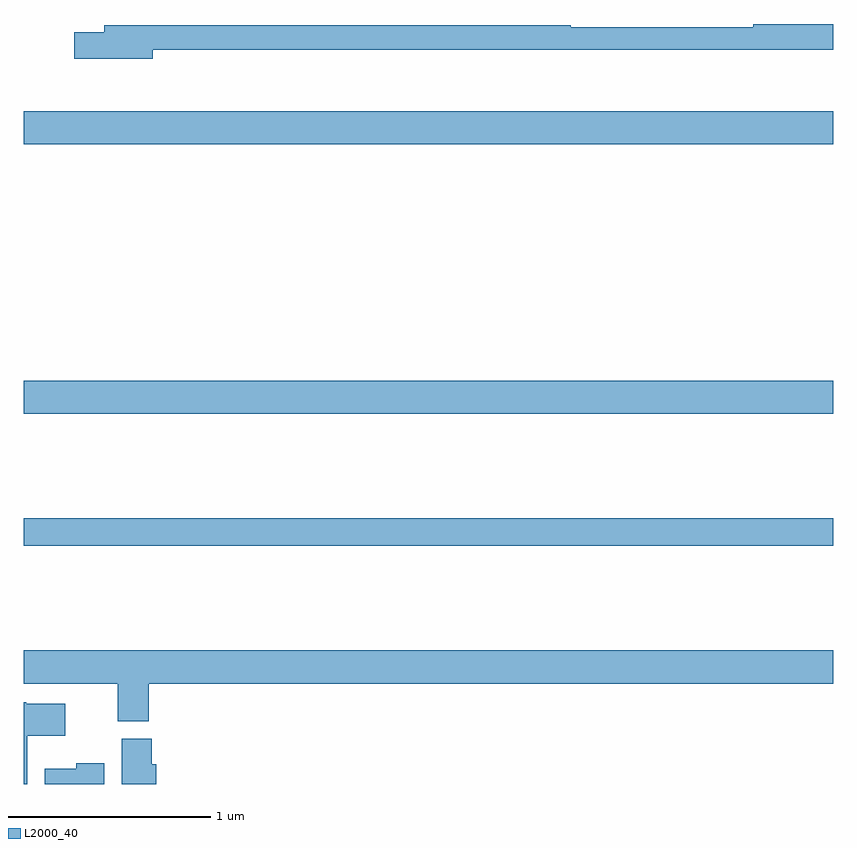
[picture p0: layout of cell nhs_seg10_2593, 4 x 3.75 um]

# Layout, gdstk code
import gdstk
lib = gdstk.Library(unit=1e-6, precision=1e-09)
def R(c, l, rs):  # rectangles x0, y0, x1, y1
    for r in rs: c.add(gdstk.rectangle(r[:2], r[2:], *l))
def P(c, l, *ps):  # polygons
    for p in ps: c.add(gdstk.Polygon(p, *l))
L2000_40 = (2000, 40)

nhs_seg10_2593 = lib.new_cell('nhs_seg10_2593')
R(nhs_seg10_2593, L2000_40, [(251,1287.676,255,1287.812), (251,1288.328,255,1288.492), (251,1289.66,255,1289.824)])
P(nhs_seg10_2593, L2000_40, [(251.638,1290.126),(255,1290.126),(255,1290.254),(254.603,1290.254),(254.603,1290.239),(253.703,1290.239),(253.703,1290.247),(251.399,1290.247),(251.399,1290.213),(251.25,1290.213),(251.25,1290.083),(251.638,1290.083)],
  [(251.618,1286.996),(255,1286.996),(255,1287.16),(251,1287.16),(251,1286.996),(251.465,1286.996),(251.465,1286.809),(251.618,1286.809)],
  [(251.017,1286.738),(251.206,1286.738),(251.206,1286.896),(251.013,1286.896),(251.013,1286.905),(251,1286.905),(251,1286.5),(251.017,1286.5)],
  [(251.654,1286.598),(251.633,1286.598),(251.633,1286.724),(251.486,1286.724),(251.486,1286.5),(251.654,1286.5)],
  [(251.398,1286.602),(251.259,1286.602),(251.259,1286.575),(251.105,1286.575),(251.105,1286.5),(251.398,1286.5)])

lib.write_gds('nhs_seg10_2593.gds')
